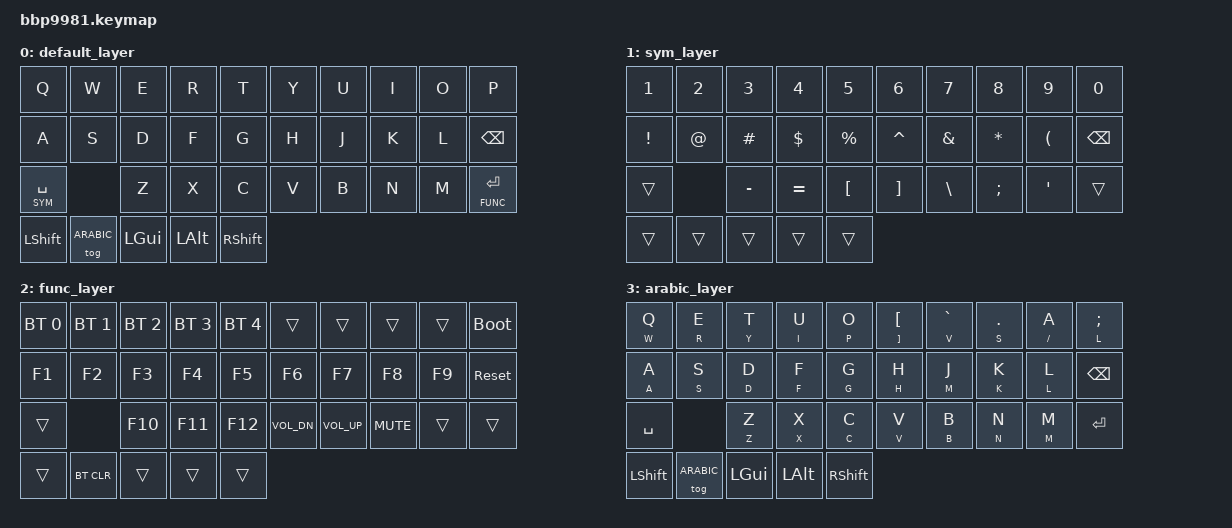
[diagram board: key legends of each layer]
/*
 * P9981 Pro - The Black Knight Arabic Edition
 * Final Keymap Structure
 */

#include <behaviors.dtsi>
#include <dt-bindings/zmk/keys.h>
#include <dt-bindings/zmk/bt.h>
#include <dt-bindings/zmk/outputs.h>

#define DEFAULT 0
#define SYM     1
#define FUNC    2
#define ARABIC  3

/ {
    behaviors {
        /* * سلوك الأزرار العربية الذكية (Hold-Tap)
         * - ضغطة سريعة (Tap): الحرف الثاني (الأكثر استخداماً في البلاكبيري)
         * - ضغطة مطولة (Hold): الحرف الأول (الأقل استخداماً أو الرديف)
         * التوقيت: 200ms (جزء من الثانية)
         */
        ar_q: ar_q { compatible = "zmk,behavior-hold-tap"; label = "AR_Q"; #binding-cells = <2>; tapping-term-ms = <200>; quick-tap-ms = <0>; flavor = "tap-preferred"; bindings = <&kp>, <&kp>; };
        ar_w: ar_w { compatible = "zmk,behavior-hold-tap"; label = "AR_W"; #binding-cells = <2>; tapping-term-ms = <200>; quick-tap-ms = <0>; flavor = "tap-preferred"; bindings = <&kp>, <&kp>; };
        ar_e: ar_e { compatible = "zmk,behavior-hold-tap"; label = "AR_E"; #binding-cells = <2>; tapping-term-ms = <200>; quick-tap-ms = <0>; flavor = "tap-preferred"; bindings = <&kp>, <&kp>; };
        ar_r: ar_r { compatible = "zmk,behavior-hold-tap"; label = "AR_R"; #binding-cells = <2>; tapping-term-ms = <200>; quick-tap-ms = <0>; flavor = "tap-preferred"; bindings = <&kp>, <&kp>; };
        ar_t: ar_t { compatible = "zmk,behavior-hold-tap"; label = "AR_T"; #binding-cells = <2>; tapping-term-ms = <200>; quick-tap-ms = <0>; flavor = "tap-preferred"; bindings = <&kp>, <&kp>; };
        ar_y: ar_y { compatible = "zmk,behavior-hold-tap"; label = "AR_Y"; #binding-cells = <2>; tapping-term-ms = <200>; quick-tap-ms = <0>; flavor = "tap-preferred"; bindings = <&kp>, <&kp>; };
        ar_u: ar_u { compatible = "zmk,behavior-hold-tap"; label = "AR_U"; #binding-cells = <2>; tapping-term-ms = <200>; quick-tap-ms = <0>; flavor = "tap-preferred"; bindings = <&kp>, <&kp>; };
        ar_i: ar_i { compatible = "zmk,behavior-hold-tap"; label = "AR_I"; #binding-cells = <2>; tapping-term-ms = <200>; quick-tap-ms = <0>; flavor = "tap-preferred"; bindings = <&kp>, <&kp>; };
        ar_o: ar_o { compatible = "zmk,behavior-hold-tap"; label = "AR_O"; #binding-cells = <2>; tapping-term-ms = <200>; quick-tap-ms = <0>; flavor = "tap-preferred"; bindings = <&kp>, <&kp>; };
        ar_p: ar_p { compatible = "zmk,behavior-hold-tap"; label = "AR_P"; #binding-cells = <2>; tapping-term-ms = <200>; quick-tap-ms = <0>; flavor = "tap-preferred"; bindings = <&kp>, <&kp>; };
        
        /* تعريفات الصف الثاني والثالث */
        ar_a: ar_a { compatible = "zmk,behavior-hold-tap"; label = "AR_A"; #binding-cells = <2>; tapping-term-ms = <200>; quick-tap-ms = <0>; flavor = "tap-preferred"; bindings = <&kp>, <&kp>; };
        ar_s: ar_s { compatible = "zmk,behavior-hold-tap"; label = "AR_S"; #binding-cells = <2>; tapping-term-ms = <200>; quick-tap-ms = <0>; flavor = "tap-preferred"; bindings = <&kp>, <&kp>; };
        ar_d: ar_d { compatible = "zmk,behavior-hold-tap"; label = "AR_D"; #binding-cells = <2>; tapping-term-ms = <200>; quick-tap-ms = <0>; flavor = "tap-preferred"; bindings = <&kp>, <&kp>; };
        ar_f: ar_f { compatible = "zmk,behavior-hold-tap"; label = "AR_F"; #binding-cells = <2>; tapping-term-ms = <200>; quick-tap-ms = <0>; flavor = "tap-preferred"; bindings = <&kp>, <&kp>; };
        ar_g: ar_g { compatible = "zmk,behavior-hold-tap"; label = "AR_G"; #binding-cells = <2>; tapping-term-ms = <200>; quick-tap-ms = <0>; flavor = "tap-preferred"; bindings = <&kp>, <&kp>; };
        ar_h: ar_h { compatible = "zmk,behavior-hold-tap"; label = "AR_H"; #binding-cells = <2>; tapping-term-ms = <200>; quick-tap-ms = <0>; flavor = "tap-preferred"; bindings = <&kp>, <&kp>; };
        ar_j: ar_j { compatible = "zmk,behavior-hold-tap"; label = "AR_J"; #binding-cells = <2>; tapping-term-ms = <200>; quick-tap-ms = <0>; flavor = "tap-preferred"; bindings = <&kp>, <&kp>; };
        ar_k: ar_k { compatible = "zmk,behavior-hold-tap"; label = "AR_K"; #binding-cells = <2>; tapping-term-ms = <200>; quick-tap-ms = <0>; flavor = "tap-preferred"; bindings = <&kp>, <&kp>; };
        ar_l: ar_l { compatible = "zmk,behavior-hold-tap"; label = "AR_L"; #binding-cells = <2>; tapping-term-ms = <200>; quick-tap-ms = <0>; flavor = "tap-preferred"; bindings = <&kp>, <&kp>; };
        
        ar_z: ar_z { compatible = "zmk,behavior-hold-tap"; label = "AR_Z"; #binding-cells = <2>; tapping-term-ms = <200>; quick-tap-ms = <0>; flavor = "tap-preferred"; bindings = <&kp>, <&kp>; };
        ar_x: ar_x { compatible = "zmk,behavior-hold-tap"; label = "AR_X"; #binding-cells = <2>; tapping-term-ms = <200>; quick-tap-ms = <0>; flavor = "tap-preferred"; bindings = <&kp>, <&kp>; };
        ar_c: ar_c { compatible = "zmk,behavior-hold-tap"; label = "AR_C"; #binding-cells = <2>; tapping-term-ms = <200>; quick-tap-ms = <0>; flavor = "tap-preferred"; bindings = <&kp>, <&kp>; };
        ar_v: ar_v { compatible = "zmk,behavior-hold-tap"; label = "AR_V"; #binding-cells = <2>; tapping-term-ms = <200>; quick-tap-ms = <0>; flavor = "tap-preferred"; bindings = <&kp>, <&kp>; };
        ar_b: ar_b { compatible = "zmk,behavior-hold-tap"; label = "AR_B"; #binding-cells = <2>; tapping-term-ms = <200>; quick-tap-ms = <0>; flavor = "tap-preferred"; bindings = <&kp>, <&kp>; };
        ar_n: ar_n { compatible = "zmk,behavior-hold-tap"; label = "AR_N"; #binding-cells = <2>; tapping-term-ms = <200>; quick-tap-ms = <0>; flavor = "tap-preferred"; bindings = <&kp>, <&kp>; };
        ar_m: ar_m { compatible = "zmk,behavior-hold-tap"; label = "AR_M"; #binding-cells = <2>; tapping-term-ms = <200>; quick-tap-ms = <0>; flavor = "tap-preferred"; bindings = <&kp>, <&kp>; };
    };

    keymap {
        compatible = "zmk,keymap";

        /* Layer 0: English QWERTY */
        default_layer {
            bindings = <
                &kp Q    &kp W    &kp E    &kp R    &kp T    &kp Y    &kp U    &kp I    &kp O    &kp P
                &kp A    &kp S    &kp D    &kp F    &kp G    &kp H    &kp J    &kp K    &kp L    &kp BSPC
                &lt SYM SPACE &kp Z  &kp X  &kp C  &kp V  &kp B  &kp N  &kp M  &lt FUNC ENTER
                &kp LSHFT &tog ARABIC &kp LGUI &kp LALT &kp RSHFT
            >;
        };

        /* Layer 1: Symbols */
        sym_layer {
            bindings = <
                &kp N1   &kp N2   &kp N3   &kp N4   &kp N5   &kp N6   &kp N7   &kp N8   &kp N9   &kp N0
                &kp EXCL &kp AT   &kp HASH &kp DLLR &kp PRCNT &kp CARET &kp AMPS &kp STAR &kp LPAR &kp BSPC
                &trans   &kp MINUS &kp EQUAL &kp LBKT &kp RBKT &kp BSLH &kp SEMI &kp APOS &trans
                &trans   &trans   &trans   &trans   &trans
            >;
        };

        /* Layer 2: Functions */
        func_layer {
            bindings = <
                &bt BT_SEL 0 &bt BT_SEL 1 &bt BT_SEL 2 &bt BT_SEL 3 &bt BT_SEL 4 &trans &trans &trans &trans &bootloader
                &kp F1   &kp F2   &kp F3   &kp F4   &kp F5   &kp F6   &kp F7   &kp F8   &kp F9   &sys_reset
                &trans   &kp F10  &kp F11  &kp F12  &kp C_VOL_DN &kp C_VOL_UP &kp C_MUTE &trans &trans
                &trans   &bt BT_CLR &trans &trans   &trans
            >;
        };

        /* Layer 3: ARABIC MODE */
        arabic_layer {
            bindings = <
                /* الصف الأول */
                &ar_q W Q    &ar_w R E    &ar_e Y T    &ar_r I U    &ar_t P O    &ar_y RBKT LBKT    &ar_u V GRAVE    &ar_i S DOT    &ar_o FSLH A    &ar_p L SEMI  
                /* الصف الثاني */
                &ar_a A A    &ar_s S S    &ar_d D D    &ar_f F F    &ar_g G G    &ar_h H H    &ar_j M J    &ar_k K K    &ar_l L L    &kp BSPC
                /* الصف الثالث */
                &kp SPACE    &ar_z Z Z    &ar_x X X    &ar_c C C    &ar_v V V    &ar_b B B    &ar_n N N    &ar_m M M    &kp RET
                /* الصف الرابع: زر الخروج من العربي (الزر الثاني من اليسار) */
                &kp LSHFT &tog ARABIC &kp LGUI &kp LALT &kp RSHFT
            >;
        };
    };
};
